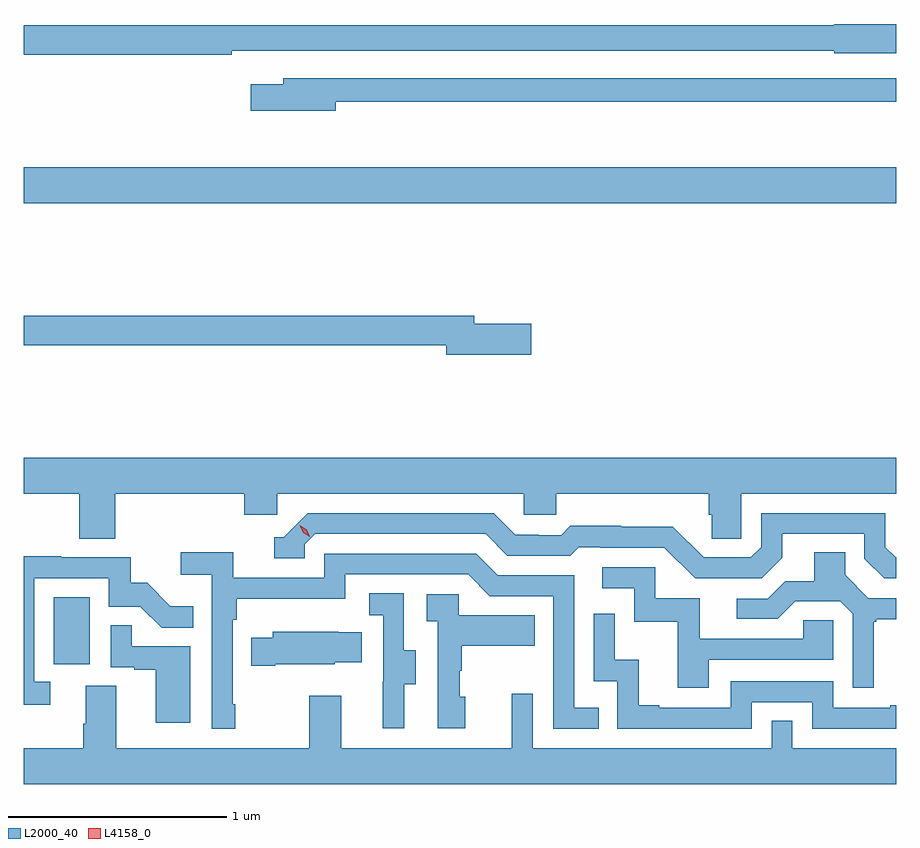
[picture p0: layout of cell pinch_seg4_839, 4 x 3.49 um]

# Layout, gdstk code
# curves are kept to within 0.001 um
import gdstk
lib = gdstk.Library(unit=1e-6, precision=1e-09)
def R(c, l, rs):  # rectangles x0, y0, x1, y1
    for r in rs: c.add(gdstk.rectangle(r[:2], r[2:], *l))
def P(c, l, *ps):  # polygons
    for p in ps: c.add(gdstk.Polygon(p, *l))
L2000_40 = (2000, 40)
L4158_0 = (4158, 0)

pinch_seg4_839 = lib.new_cell('pinch_seg4_839')
R(pinch_seg4_839, L2000_40, [(875.498,804.03,875.662,804.337), (875.361,806.144,879.361,806.308)])
P(pinch_seg4_839, L2000_40, [(876.314,806.844),(879.078,806.844),(879.078,806.831),(879.361,806.831),(879.361,806.966),(879.078,806.966),(879.078,806.96),(875.361,806.96),(875.361,806.824),(876.314,806.824)],
  [(876.79,806.61),(879.361,806.61),(879.361,806.718),(876.551,806.718),(876.551,806.689),(876.402,806.689),(876.402,806.567),(876.79,806.567)],
  [(877.687,805.592),(877.426,805.592),(877.426,805.628),(875.361,805.628),(875.361,805.492),(877.298,805.492),(877.298,805.45),(877.687,805.45)],
  [(875.78,804.812),(876.371,804.812),(876.371,804.714),(876.522,804.714),(876.522,804.812),(877.653,804.812),(877.653,804.714),(877.803,804.714),(877.803,804.812),(878.501,804.812),(878.501,804.714),(878.515,804.714),(878.515,804.604),(878.652,804.604),(878.652,804.812),(879.361,804.812),(879.361,804.976),(875.361,804.976),(875.361,804.812),(875.615,804.812),(875.615,804.604),(875.78,804.604)],
  [(878.839,804.517),(878.839,804.627),(879.216,804.627),(879.216,804.513),(879.306,804.423),(879.361,804.423),(879.361,804.519),(879.312,804.567),(879.312,804.723),(878.742,804.723),(878.742,804.567),(878.694,804.519),(878.478,804.519),(878.336,804.661),(878.1,804.661),(878.1,804.664),(877.867,804.664),(877.825,804.621),(877.722,804.621),(877.722,804.624),(877.615,804.624),(877.516,804.723),(876.663,804.723),(876.552,804.612),(876.509,804.612),(876.509,804.516),(876.648,804.516),(876.648,804.579),(876.696,804.627),(877.479,804.627),(877.578,804.528),(877.867,804.528),(877.906,804.567),(878.005,804.567),(878.005,804.564),(878.298,804.564),(878.439,804.423),(878.745,804.423)],
  [(879.259,804.225),(879.271,804.225),(879.271,804.236),(879.361,804.236),(879.361,804.333),(879.234,804.333),(879.127,804.44),(879.127,804.542),(878.987,804.542),(878.987,804.41),(878.852,804.41),(878.772,804.33),(878.631,804.33),(878.631,804.237),(878.818,804.237),(878.899,804.318),(879.105,804.318),(879.162,804.261),(879.162,803.922),(879.259,803.922)],
  [(876.331,803.845),(876.318,803.845),(876.318,804.233),(876.338,804.233),(876.338,804.329),(876.834,804.329),(876.834,804.441),(877.398,804.441),(877.497,804.342),(877.788,804.342),(877.788,803.733),(877.997,803.733),(877.997,803.829),(877.884,803.829),(877.884,804.438),(877.534,804.438),(877.435,804.537),(876.738,804.537),(876.738,804.426),(876.32,804.426),(876.32,804.542),(876.081,804.542),(876.081,804.44),(876.222,804.44),(876.222,803.733),(876.331,803.733)],
  [(875.482,803.949),(875.409,803.949),(875.409,804.423),(875.751,804.423),(875.751,804.294),(875.895,804.294),(875.993,804.196),(876.137,804.196),(876.137,804.295),(876.033,804.295),(875.926,804.402),(875.85,804.402),(875.85,804.519),(875.531,804.519),(875.531,804.524),(875.361,804.524),(875.361,803.844),(875.482,803.844)],
  [(878.503,804.051),(879.072,804.051),(879.072,804.231),(878.935,804.231),(878.935,804.147),(878.461,804.147),(878.461,804.333),(878.256,804.333),(878.256,804.474),(878.013,804.474),(878.013,804.378),(878.16,804.378),(878.16,804.225),(878.359,804.225),(878.359,803.922),(878.503,803.922)],
  [(877.105,803.938),(877.159,803.938),(877.159,804.093),(877.104,804.093),(877.104,804.356),(876.945,804.356),(876.945,804.253),(877.008,804.253),(877.008,803.949),(877.007,803.949),(877.007,803.736),(877.105,803.736)],
  [(877.384,803.88),(877.359,803.88),(877.359,803.999),(877.369,803.999),(877.369,804.113),(877.703,804.113),(877.703,804.253),(877.356,804.253),(877.356,804.351),(877.209,804.351),(877.209,804.227),(877.26,804.227),(877.26,803.736),(877.384,803.736)],
  [(878.7,803.856),(878.976,803.856),(878.976,803.733),(879.361,803.733),(879.361,803.842),(879.335,803.842),(879.335,803.829),(879.072,803.829),(879.072,803.952),(878.604,803.952),(878.604,803.829),(878.275,803.829),(878.275,803.842),(878.18,803.842),(878.18,804.05),(878.07,804.05),(878.07,804.262),(877.974,804.262),(877.974,803.952),(878.082,803.952),(878.082,803.733),(878.7,803.733)],
  [(876.124,804.111),(875.855,804.111),(875.855,804.209),(875.76,804.209),(875.76,804.015),(875.867,804.015),(875.867,804.003),(875.966,804.003),(875.966,803.76),(876.124,803.76)],
  [(876.514,804.029),(876.786,804.029),(876.786,804.038),(876.911,804.038),(876.911,804.175),(876.803,804.175),(876.803,804.178),(876.501,804.178),(876.501,804.151),(876.403,804.151),(876.403,804.022),(876.514,804.022)],
  [(879.361,803.644),(878.886,803.644),(878.886,803.771),(878.79,803.771),(878.79,803.644),(877.695,803.644),(877.695,803.893),(877.598,803.893),(877.598,803.644),(876.817,803.644),(876.817,803.884),(876.67,803.884),(876.67,803.644),(875.785,803.644),(875.785,803.93),(875.645,803.93),(875.645,803.756),(875.633,803.756),(875.633,803.644),(875.361,803.644),(875.361,803.48),(879.361,803.48)])
P(pinch_seg4_839, L4158_0, [(876.672,804.613),(876.642,804.633),(876.626,804.666),(876.626,804.666),(876.626,804.666),(876.657,804.646),(876.672,804.614),(876.672,804.613)])

lib.write_gds('pinch_seg4_839.gds')
